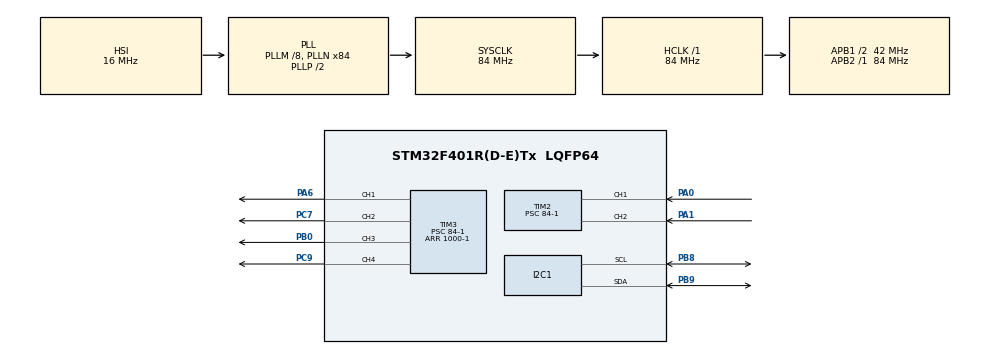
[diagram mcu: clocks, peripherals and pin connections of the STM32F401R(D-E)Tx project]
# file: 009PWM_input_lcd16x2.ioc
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Mcu.Family=STM32F4
Mcu.Name=STM32F401R(D-E)Tx
Mcu.Package=LQFP64
NVIC.PriorityGroup=NVIC_PRIORITYGROUP_4
NVIC.TIM2_IRQn=true\:0\:0\:false\:false\:true\:true\:true
PA0-WKUP.Signal=S_TIM2_CH1_ETR
PA1.Signal=S_TIM2_CH2
PA6.Signal=S_TIM3_CH1
PB0.Signal=S_TIM3_CH3
PB8.Mode=I2C
PB8.Signal=I2C1_SCL
PB9.Mode=I2C
PB9.Signal=I2C1_SDA
PC7.Signal=S_TIM3_CH2
PC9.Signal=S_TIM3_CH4
PH0\ -\ OSC_IN.Mode=HSE-External-Clock-Source
PH0\ -\ OSC_IN.Signal=RCC_OSC_IN
PH1\ -\ OSC_OUT.Mode=HSE-External-Clock-Source
PH1\ -\ OSC_OUT.Signal=RCC_OSC_OUT
ProjectManager.HeapSize=0x200
ProjectManager.StackSize=0x400
ProjectManager.TargetToolchain=STM32CubeIDE
RCC.48MHZClocksFreq_Value=42000000
RCC.AHBFreq_Value=84000000
RCC.APB1CLKDivider=RCC_HCLK_DIV2
RCC.APB1Freq_Value=42000000
RCC.APB1TimFreq_Value=84000000
RCC.APB2Freq_Value=84000000
RCC.APB2TimFreq_Value=84000000
RCC.CortexFreq_Value=84000000
RCC.HCLKFreq_Value=84000000
RCC.HSE_VALUE=25000000
RCC.HSI_VALUE=16000000
RCC.LSE_VALUE=32768
RCC.PLLM=8
RCC.PLLN=84
RCC.SYSCLKFreq_VALUE=84000000
RCC.SYSCLKSource=RCC_SYSCLKSOURCE_PLLCLK
RCC.VCOOutputFreq_Value=168000000
SH.S_TIM2_CH1_ETR.0=TIM2_CH1,Input_Capture1_from_TI1
SH.S_TIM2_CH2.0=TIM2_CH2,Input_Capture2_from_TI2
SH.S_TIM3_CH1.0=TIM3_CH1,PWM Generation1 CH1
SH.S_TIM3_CH2.0=TIM3_CH2,PWM Generation2 CH2
SH.S_TIM3_CH3.0=TIM3_CH3,PWM Generation3 CH3
SH.S_TIM3_CH4.0=TIM3_CH4,PWM Generation4 CH4
TIM2.Channel-Input_Capture1_from_TI1=TIM_CHANNEL_1
TIM2.Channel-Input_Capture2_from_TI2=TIM_CHANNEL_2
TIM2.Period=0xffff-1
TIM2.Prescaler=84-1
TIM3.Channel-PWM\ Generation1\ CH1=TIM_CHANNEL_1
TIM3.Channel-PWM\ Generation2\ CH2=TIM_CHANNEL_2
TIM3.Channel-PWM\ Generation3\ CH3=TIM_CHANNEL_3
TIM3.Channel-PWM\ Generation4\ CH4=TIM_CHANNEL_4
TIM3.Period=1000-1
TIM3.Prescaler=84-1
board=custom

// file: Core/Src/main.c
/* USER CODE BEGIN Header */
/**
  ******************************************************************************
  * @file           : main.c
  * @brief          : Main program body
  ******************************************************************************
  * @attention
  *
  * <h2><center>&copy; Copyright (c) 2020 STMicroelectronics.
  * All rights reserved.</center></h2>
  *
  * This software component is licensed by ST under BSD 3-Clause license,
  * the "License"; You may not use this file except in compliance with the
  * License. You may obtain a copy of the License at:
  *                        opensource.org/licenses/BSD-3-Clause
  *
  ******************************************************************************
  */
/* USER CODE END Header */
#include "main.h"

/* USER CODE BEGIN Includes */
#include <stdio.h>
#include "i2c-lcd.h"
//#include "math.h"
/* USER CODE END Includes */

/* USER CODE BEGIN PD */
#define max_remap 500
#define min_remap -500
/* USER CODE END PD */

I2C_HandleTypeDef hi2c1;

TIM_HandleTypeDef htim2;
TIM_HandleTypeDef htim3;

void SystemClock_Config(void);
static void MX_GPIO_Init(void);
static void MX_I2C1_Init(void);
static void MX_TIM2_Init(void);
static void MX_TIM3_Init(void);
/* USER CODE BEGIN PFP */

void pwm_init(void); // Função para inicializar o pwm e zerar o duty cycle
//void control_remap(void); // Função para remapear o pulso lido pelo receptor

/* USER CODE END PFP */

/* USER CODE BEGIN 0 */
uint32_t IC_Val1 = 0;
uint32_t IC_Val2 = 0;
uint32_t Difference = 0;
uint8_t Is_First_Captured = 0;
uint32_t IC_Val3 = 0;
uint32_t IC_Val4 = 0;
uint32_t Difference1 = 0;
uint8_t Is_First_Captured1 = 0;
//int duty=0;
int32_t mov_v = 0;
int32_t mov_h = 0;

void HAL_TIM_IC_CaptureCallback(TIM_HandleTypeDef *htim)
{
	if (htim->Channel == HAL_TIM_ACTIVE_CHANNEL_2)  // if the interrupt source is channel2
	{
		if (Is_First_Captured==0) // if the first value is not captured
		{
			IC_Val1 = HAL_TIM_ReadCapturedValue(htim, TIM_CHANNEL_2); // read the first value
			Is_First_Captured = 1;  // set the first captured as true
			// Now change the polarity to falling edge
			__HAL_TIM_SET_CAPTUREPOLARITY(htim, TIM_CHANNEL_2, TIM_INPUTCHANNELPOLARITY_FALLING);
		}

		else if (Is_First_Captured==1)   // if the first is already captured
		{
			IC_Val2 = HAL_TIM_ReadCapturedValue(htim, TIM_CHANNEL_2);  // read second value
			if(Is_First_Captured1 == 0)__HAL_TIM_SET_COUNTER(htim, 0);  // reset the counter

			if (IC_Val2 > IC_Val1)
			{
				Difference = IC_Val2-IC_Val1;
				//duty = (int) 100*Difference/IC_Val2;
			}

			Is_First_Captured = 0; // set it back to false

			// set polarity to rising edge
			__HAL_TIM_SET_CAPTUREPOLARITY(htim, TIM_CHANNEL_2, TIM_INPUTCHANNELPOLARITY_RISING);

		}
	}
	if (htim->Channel == HAL_TIM_ACTIVE_CHANNEL_1)  // if the interrupt source is channel2
		{
			if (Is_First_Captured1==0) // if the first value is not captured
			{
				IC_Val3 = HAL_TIM_ReadCapturedValue(htim, TIM_CHANNEL_1); // read the first value
				Is_First_Captured1 = 1;  // set the first captured as true
				// Now change the polarity to falling edge
				__HAL_TIM_SET_CAPTUREPOLARITY(htim, TIM_CHANNEL_1, TIM_INPUTCHANNELPOLARITY_FALLING);
			}

			else if (Is_First_Captured1==1)   // if the first is already captured
			{
				IC_Val4 = HAL_TIM_ReadCapturedValue(htim, TIM_CHANNEL_1);  // read second value
				if(Is_First_Captured == 0)__HAL_TIM_SET_COUNTER(htim, 0);  // reset the counter

				if (IC_Val4 > IC_Val3)
				{
					Difference1 = IC_Val4-IC_Val3;
					//duty = (int) 100*Difference/IC_Val2;
				}

				Is_First_Captured1 = 0; // set it back to false

				// set polarity to rising edge
				__HAL_TIM_SET_CAPTUREPOLARITY(htim, TIM_CHANNEL_1, TIM_INPUTCHANNELPOLARITY_RISING);

			}
		}
}

int32_t receiver_map(int32_t x, int32_t in_min, int32_t in_max, int32_t out_min, int32_t out_max) {
  return (x - in_min) * (out_max - out_min) / (in_max - in_min) + out_min;
}
/* USER CODE END 0 */

int main(void)
{
  /* USER CODE BEGIN 1 */
  char buffer [4];
  int32_t vel_e;
  int32_t vel_d;
  /* USER CODE END 1 */

  /* MCU Configuration--------------------------------------------------------*/

  /* Reset of all peripherals, Initializes the Flash interface and the Systick. */
  HAL_Init();

  /* Configure the system clock */
  SystemClock_Config();

  /* Initialize all configured peripherals */
  MX_GPIO_Init();
  MX_I2C1_Init();
  MX_TIM2_Init();
  MX_TIM3_Init();
  /* USER CODE BEGIN 2 */
  lcd_init();

  pwm_init();

  HAL_TIM_IC_Start_IT(&htim2, TIM_CHANNEL_2);
  HAL_TIM_IC_Start_IT(&htim2, TIM_CHANNEL_1);
  /* USER CODE END 2 */

  /* Infinite loop */
  while (1)
  {

    /* USER CODE BEGIN 3 */
	  mov_v = (int32_t) Difference;
	  mov_v = receiver_map(mov_v, 1045, 2065, min_remap, max_remap);
	  mov_h = (int32_t) Difference1;
	  mov_h = receiver_map(mov_h, 1130, 1945, min_remap, max_remap);
/*
	  if (Difference < 1045) TIM3->CCR3 = 0;
	  else if (Difference > 2065) TIM3->CCR3 = TIM3->ARR;
	  else{
		  TIM3->CCR3 = mov_v;
	  }

	  if (mov_v > 430 && mov_v < 570) TIM3->CCR3 = 500;
	  else {
		  TIM3->CCR3 = mov_v;
	  }

	  if (mov_v > -20 && mov_v < 20){
		  TIM3->CCR2 = 0;
		  TIM3->CCR3 = 0;
	  }
	  else if (mov_v >= 20 && mov_v < max_remap){
		  TIM3->CCR2 = 0;
		  TIM3->CCR3 = mov_v;
	  }
	  else if (mov_v <= -20 && mov_v > min_remap){
		  TIM3->CCR2 = 1000 - mov_v;
		  TIM3->CCR3 = 0;
	  }
*/
	  if ((mov_v > -30 && mov_v < 30) && (mov_h > -30 && mov_h < 30)){
		  mov_v=0;
		  mov_h=0;
	  }
	  else if (mov_v >= max_remap)	mov_v = max_remap;
	  else if (mov_v <= min_remap)	mov_v = min_remap;
	  //if (mov_h > -20 && mov_v < 20)	mov_h = 0;
	  else if (mov_h >= max_remap)	mov_h = max_remap;
	  else if (mov_h <= min_remap)	mov_h = min_remap;

	  vel_e = 1.5*mov_v + 0.4*mov_h;
	  vel_d = 1.5*mov_v - 0.4*mov_h;
/*
	  if (mov_v >= max_remap)	mov_v = max_remap;
	  else if (mov_v <= min_remap)	mov_v = min_remap;
	  else if (mov_h >= max_remap)	mov_h = max_remap;
	  else if (mov_h <= min_remap)	mov_h = min_remap;
	  */
	  //motor esquerdo
	  if(vel_e>0){
		  TIM3->CCR2 = vel_e;
		  TIM3->CCR3 = 0;
	  }
	  else{
		  TIM3->CCR2 = 0;
		  TIM3->CCR3 = -vel_e;
	  }
	  //motor direito
	  if(vel_d>0){
		  TIM3->CCR1 = vel_d;
		  TIM3->CCR4 = 0;
	  }
	  else{
		  TIM3->CCR1 = 0;
		  TIM3->CCR4 = -vel_d;
	  }
/*
	  else if(mov_v<0){
		  //motor esquerdo
		  TIM3->CCR2 = 0;
		  TIM3->CCR3 = mov_v + 0.2*mov_h;
		  //Motor direito
		  TIM3->CCR1 = 0;
		  TIM3->CCR4 = mov_v - 0.2*mov_h;
	  }
*/
/*
	  if (Difference1 < 1130) TIM3->CCR2 = 0;
	  else if (Difference1 > 1945) TIM3->CCR2 = TIM3->ARR;
	  else{
		  TIM3->CCR2 = mov_h;
	  }
	  if (mov_h > 430 && mov_h < 570) TIM3->CCR2 = 500;
	  else {
		  TIM3->CCR2 = mov_h;
	  }

	  */

	  /*TIM3->CCR3 = mov_v;
	  TIM3->CCR2 = mov_h;*/

	  //HAL_Delay(1);

	  lcd_put_cur(0, 0);
	  lcd_send_string("Y:");
	  sprintf(buffer, "%ld", mov_v);
	  lcd_send_string(buffer);

	  lcd_put_cur(1, 0);
	  lcd_send_string("X:");
	  sprintf(buffer, "%ld", mov_h);
	  lcd_send_string(buffer);

	  HAL_Delay(500);

	  /*if(TIM3->CCR3 == 1000) TIM3->CCR3 = 0;
	  else TIM3->CCR3 += 100;*/

	  lcd_clear();
  }
}
  /* USER CODE END 3 */

void SystemClock_Config(void)
{
  RCC_OscInitTypeDef RCC_OscInitStruct = {0};
  RCC_ClkInitTypeDef RCC_ClkInitStruct = {0};

  /** Configure the main internal regulator output voltage
  */
  __HAL_RCC_PWR_CLK_ENABLE();
  __HAL_PWR_VOLTAGESCALING_CONFIG(PWR_REGULATOR_VOLTAGE_SCALE2);
  /** Initializes the RCC Oscillators according to the specified parameters
  * in the RCC_OscInitTypeDef structure.
  */
  RCC_OscInitStruct.OscillatorType = RCC_OSCILLATORTYPE_HSI;
  RCC_OscInitStruct.HSIState = RCC_HSI_ON;
  RCC_OscInitStruct.HSICalibrationValue = RCC_HSICALIBRATION_DEFAULT;
  RCC_OscInitStruct.PLL.PLLState = RCC_PLL_ON;
  RCC_OscInitStruct.PLL.PLLSource = RCC_PLLSOURCE_HSI;
  RCC_OscInitStruct.PLL.PLLM = 8;
  RCC_OscInitStruct.PLL.PLLN = 84;
  RCC_OscInitStruct.PLL.PLLP = RCC_PLLP_DIV2;
  RCC_OscInitStruct.PLL.PLLQ = 4;
  if (HAL_RCC_OscConfig(&RCC_OscInitStruct) != HAL_OK)
  {
    Error_Handler();
  }
  /** Initializes the CPU, AHB and APB buses clocks
  */
  RCC_ClkInitStruct.ClockType = RCC_CLOCKTYPE_HCLK|RCC_CLOCKTYPE_SYSCLK
                              |RCC_CLOCKTYPE_PCLK1|RCC_CLOCKTYPE_PCLK2;
  RCC_ClkInitStruct.SYSCLKSource = RCC_SYSCLKSOURCE_PLLCLK;
  RCC_ClkInitStruct.AHBCLKDivider = RCC_SYSCLK_DIV1;
  RCC_ClkInitStruct.APB1CLKDivider = RCC_HCLK_DIV2;
  RCC_ClkInitStruct.APB2CLKDivider = RCC_HCLK_DIV1;

  if (HAL_RCC_ClockConfig(&RCC_ClkInitStruct, FLASH_LATENCY_2) != HAL_OK)
  {
    Error_Handler();
  }
}

static void MX_I2C1_Init(void)
{

  hi2c1.Instance = I2C1;
  hi2c1.Init.ClockSpeed = 100000;
  hi2c1.Init.DutyCycle = I2C_DUTYCYCLE_2;
  hi2c1.Init.OwnAddress1 = 0;
  hi2c1.Init.AddressingMode = I2C_ADDRESSINGMODE_7BIT;
  hi2c1.Init.DualAddressMode = I2C_DUALADDRESS_DISABLE;
  hi2c1.Init.OwnAddress2 = 0;
  hi2c1.Init.GeneralCallMode = I2C_GENERALCALL_DISABLE;
  hi2c1.Init.NoStretchMode = I2C_NOSTRETCH_DISABLE;
  if (HAL_I2C_Init(&hi2c1) != HAL_OK)
  {
    Error_Handler();
  }

}

static void MX_TIM2_Init(void)
{

  TIM_MasterConfigTypeDef sMasterConfig = {0};
  TIM_IC_InitTypeDef sConfigIC = {0};

  htim2.Instance = TIM2;
  htim2.Init.Prescaler = 84-1;
  htim2.Init.CounterMode = TIM_COUNTERMODE_UP;
  htim2.Init.Period = 0xffff-1;
  htim2.Init.ClockDivision = TIM_CLOCKDIVISION_DIV1;
  htim2.Init.AutoReloadPreload = TIM_AUTORELOAD_PRELOAD_DISABLE;
  if (HAL_TIM_IC_Init(&htim2) != HAL_OK)
  {
    Error_Handler();
  }
  sMasterConfig.MasterOutputTrigger = TIM_TRGO_RESET;
  sMasterConfig.MasterSlaveMode = TIM_MASTERSLAVEMODE_DISABLE;
  if (HAL_TIMEx_MasterConfigSynchronization(&htim2, &sMasterConfig) != HAL_OK)
  {
    Error_Handler();
  }
  sConfigIC.ICPolarity = TIM_INPUTCHANNELPOLARITY_RISING;
  sConfigIC.ICSelection = TIM_ICSELECTION_DIRECTTI;
  sConfigIC.ICPrescaler = TIM_ICPSC_DIV1;
  sConfigIC.ICFilter = 0;
  if (HAL_TIM_IC_ConfigChannel(&htim2, &sConfigIC, TIM_CHANNEL_1) != HAL_OK)
  {
    Error_Handler();
  }
  if (HAL_TIM_IC_ConfigChannel(&htim2, &sConfigIC, TIM_CHANNEL_2) != HAL_OK)
  {
    Error_Handler();
  }

}

static void MX_TIM3_Init(void)
{

  TIM_MasterConfigTypeDef sMasterConfig = {0};
  TIM_OC_InitTypeDef sConfigOC = {0};

  htim3.Instance = TIM3;
  htim3.Init.Prescaler = 84-1;
  htim3.Init.CounterMode = TIM_COUNTERMODE_UP;
  htim3.Init.Period = 1000-1;
  htim3.Init.ClockDivision = TIM_CLOCKDIVISION_DIV1;
  htim3.Init.AutoReloadPreload = TIM_AUTORELOAD_PRELOAD_DISABLE;
  if (HAL_TIM_PWM_Init(&htim3) != HAL_OK)
  {
    Error_Handler();
  }
  sMasterConfig.MasterOutputTrigger = TIM_TRGO_RESET;
  sMasterConfig.MasterSlaveMode = TIM_MASTERSLAVEMODE_DISABLE;
  if (HAL_TIMEx_MasterConfigSynchronization(&htim3, &sMasterConfig) != HAL_OK)
  {
    Error_Handler();
  }
  sConfigOC.OCMode = TIM_OCMODE_PWM1;
  sConfigOC.Pulse = 0;
  sConfigOC.OCPolarity = TIM_OCPOLARITY_HIGH;
  sConfigOC.OCFastMode = TIM_OCFAST_DISABLE;
  if (HAL_TIM_PWM_ConfigChannel(&htim3, &sConfigOC, TIM_CHANNEL_1) != HAL_OK)
  {
    Error_Handler();
  }
  if (HAL_TIM_PWM_ConfigChannel(&htim3, &sConfigOC, TIM_CHANNEL_2) != HAL_OK)
  {
    Error_Handler();
  }
  if (HAL_TIM_PWM_ConfigChannel(&htim3, &sConfigOC, TIM_CHANNEL_3) != HAL_OK)
  {
    Error_Handler();
  }
  if (HAL_TIM_PWM_ConfigChannel(&htim3, &sConfigOC, TIM_CHANNEL_4) != HAL_OK)
  {
    Error_Handler();
  }
  HAL_TIM_MspPostInit(&htim3);

}

static void MX_GPIO_Init(void)
{

  /* GPIO Ports Clock Enable */
  __HAL_RCC_GPIOH_CLK_ENABLE();
  __HAL_RCC_GPIOA_CLK_ENABLE();
  __HAL_RCC_GPIOB_CLK_ENABLE();
  __HAL_RCC_GPIOC_CLK_ENABLE();

}

/* USER CODE BEGIN 4 */

void pwm_init(void){
	  // Motor esquerdo
	  HAL_TIM_PWM_Start(&htim3, TIM_CHANNEL_2);
	  HAL_TIM_PWM_Start(&htim3, TIM_CHANNEL_3);

	  TIM3->CCR3 = 0;
	  TIM3->CCR2 = 0;

	  // Motor direito

	  HAL_TIM_PWM_Start(&htim3, TIM_CHANNEL_1);
	  HAL_TIM_PWM_Start(&htim3, TIM_CHANNEL_4);

	  TIM3->CCR1 = 0;
	  TIM3->CCR4 = 0;
}

/* USER CODE END 4 */

void Error_Handler(void)
{
}

/************************ (C) COPYRIGHT STMicroelectronics *****END OF FILE****/
